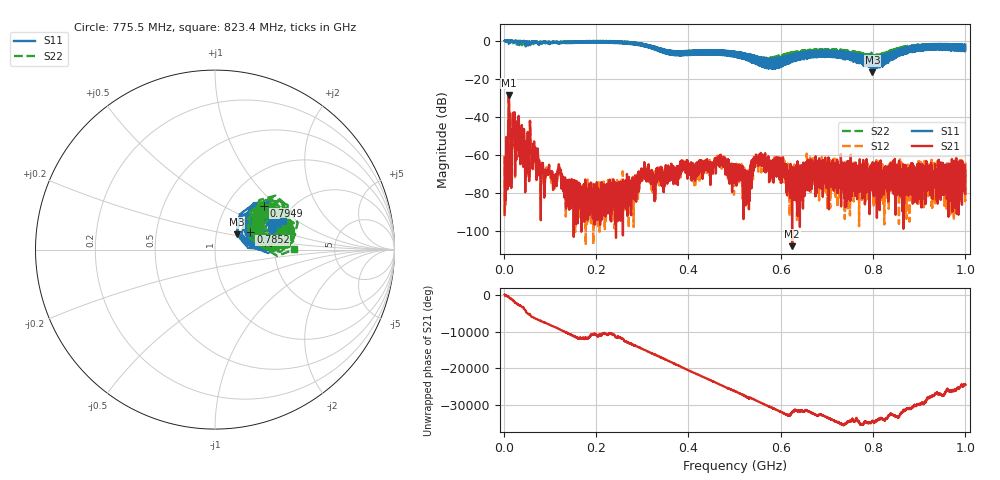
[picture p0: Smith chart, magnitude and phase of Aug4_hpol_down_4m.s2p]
!Keysight Technologies N9923A: A.12.45
!Date: Tuesday, 05 August 2025 18:00:02
!Timezone: (UTC+08:00) Kuala Lumpur, Singapore
!Model: N9923A
!Serial: MY61181427
!GPS Latitude:
!GPS Longitude:
!GPS TimeStamp: 0001-01-01 00:00:00Z
!GPS Seconds Since Last Read: 0
!CHECKSUM:0133397964
!Correction: S11(ON U)S21(ON U)S12(ON U)S22(ON U)
!S2P File: Measurements:S11,S21,S12,S22:
# Hz S DB R 50
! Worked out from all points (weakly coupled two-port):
!   4001 points, 2 MHz to 1 GHz, reference 50 ohm
!   highest |S21| = -28.48 dB at 10.98 MHz (marker M1); lowest = -107.7 dB at 624.8 MHz (marker M2)
!   lowest |S11| = -16.6 dB at 798.7 MHz (marker M3), VSWR 1.35, Z = 62.7 + j11 ohm
!   |S11| at or under -10 dB: 558.8586 MHz to 559.9082 MHz (1.05 MHz wide, 0.188 % of centre); 565.525 MHz to 566.7549 MHz (1.23 MHz wide, 0.217 % of centre); 584.0809 MHz to 585.3975 MHz (1.317 MHz wide, 0.225 % of centre)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
!   |S22| runs from -13.9 to 0.1 dB; largest |S21 - S12| = 0.0011
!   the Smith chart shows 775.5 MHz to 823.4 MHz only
!   S11 on the Smith chart (normalised r, x): 775.5 MHz: 1.84, +0.49; 785.2 MHz: 1.46, +0.30; 794.9 MHz: 1.47, +0.83; 823.4 MHz: 2.03, +0.77
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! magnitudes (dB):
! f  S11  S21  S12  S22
! 2 MHz  -0.1  -91.3  -90.5  -0.1
! 10.98 MHz  -1.7  -28.5  -28.4  -0.6
! 34.68 MHz  -2.3  -48.5  -48.5  -0.3
! 45.16 MHz  -0.2  -55.7  -55.3  -0.3
! 61.38 MHz  -0.8  -59.4  -59.1  -1.6
! 84.83 MHz  -0.9  -64.7  -65.3  -1.2
! 120.3 MHz  -1.1  -67.3  -66.7  -0.9
! 168.4 MHz  -1.2  -86.2  -78.7  -0.9
! 334.8 MHz  -4.5  -71.1  -73.2  -5.0
! 464.3 MHz  -5.2  -61.5  -64.0  -5.1
! 501 MHz  -6.4  -67.6  -66.1  -7.3
! 527.9 MHz  -7.5  -75.4  -75.3  -8.8
! 556.9 MHz  -8.7  -58.8  -64.3  -9.4
! 624.8 MHz  -8.5  -107.7  -81.0  -6.4
! 667.4 MHz  -8.3  -77.7  -76.4  -7.4
! 775.5 MHz  -9.4  -71.0  -64.5  -11.1
! 785.2 MHz  -13.2  -66.3  -65.7  -9.6
! 794.9 MHz  -8.7  -71.5  -77.1  -7.7
! 798.7 MHz  -16.6  -75.0  -72.0  -9.1
! 823.4 MHz  -7.7  -68.7  -82.4  -7.1
! 833.8 MHz  -8.6  -69.1  -88.1  -5.6
! 1 GHz  -2.3  -68.6  -63.9  -4.0
